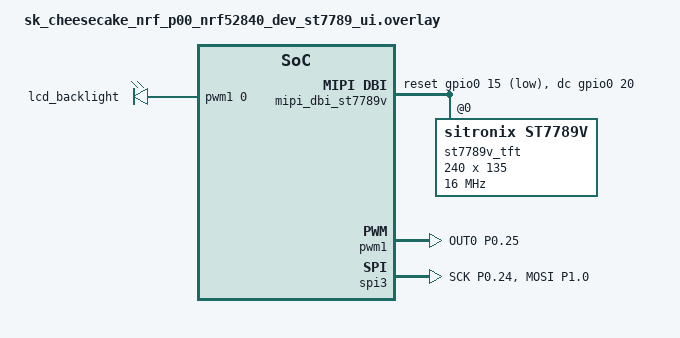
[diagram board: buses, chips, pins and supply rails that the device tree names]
// Copyright (c) 2026
// SPDX-License-Identifier: Apache-2.0

#include <zephyr/dt-bindings/gpio/gpio.h>
#include <zephyr/dt-bindings/lvgl/lvgl.h>
#include <zephyr/dt-bindings/mipi_dbi/mipi_dbi.h>

&pinctrl {
	spi3_default: spi3_default {
		group1 {
			psels = <NRF_PSEL(SPIM_SCK, 0, 24)>,
				<NRF_PSEL(SPIM_MOSI, 1, 0)>;
		};
	};

	spi3_sleep: spi3_sleep {
		group1 {
			psels = <NRF_PSEL(SPIM_SCK, 0, 24)>,
				<NRF_PSEL(SPIM_MOSI, 1, 0)>;
			low-power-enable;
		};
	};

	pwm1_default: pwm1_default {
		group1 {
			psels = <NRF_PSEL(PWM_OUT0, 0, 25)>;
		};
	};

	pwm1_sleep: pwm1_sleep {
		group1 {
			psels = <NRF_PSEL(PWM_OUT0, 0, 25)>;
			low-power-enable;
		};
	};
};

/ {
	chosen {
		zephyr,display = &st7789v_tft;
	};

	aliases {
		lcd-backlight = &lcd_backlight;
	};

	mipi_dbi_st7789v {
		compatible = "zephyr,mipi-dbi-spi";
		spi-dev = <&spi3>;
		dc-gpios = <&gpio0 20 GPIO_ACTIVE_HIGH>;
		reset-gpios = <&gpio0 15 GPIO_ACTIVE_LOW>;
		write-only;
		#address-cells = <1>;
		#size-cells = <0>;
		status = "okay";

		st7789v_tft: st7789v@0 {
			compatible = "sitronix,st7789v";
			reg = <0>;
			mipi-max-frequency = <16000000>;

			width = <240>;
			height = <135>;
			x-offset = <40>;
			y-offset = <53>;

			vcom = <0x19>;
			gctrl = <0x35>;
			vrhs = <0x12>;
			vdvs = <0x20>;
			mdac = <0x77>;
			gamma = <0x00>;
			colmod = <0x05>;
			lcm = <0x2c>;
			porch-param = [0c 0c 00 33 33];
			cmd2en-param = [5a 69 02 00];
			pwctrl1-param = [a4 a1];
			pvgam-param = [d0 04 0d 11 13 2b 3f 54 4c 18 0d 0b 1f 23];
			nvgam-param = [d0 04 0c 11 13 2c 3f 44 51 2f 1f 1f 20 23];
			ram-param = [00 f0];
			rgb-param = [40 02 14];
			mipi-mode = "MIPI_DBI_MODE_SPI_4WIRE";
			status = "okay";
		};
	};

	pwmleds: pwmleds {
		compatible = "pwm-leds";
		lcd_backlight: lcd_backlight {
			pwms = <&pwm1 0 PWM_MSEC(1) PWM_POLARITY_NORMAL>;
		};
	};
};

&pwm1 {
	status = "okay";
	pinctrl-0 = <&pwm1_default>;
	pinctrl-1 = <&pwm1_sleep>;
	pinctrl-names = "default", "sleep";
};

&spi3 {
	compatible = "nordic,nrf-spim";
	status = "okay";
	cs-gpios = <&gpio0 22 GPIO_ACTIVE_LOW>;
	pinctrl-0 = <&spi3_default>;
	pinctrl-1 = <&spi3_sleep>;
	pinctrl-names = "default", "sleep";
};
